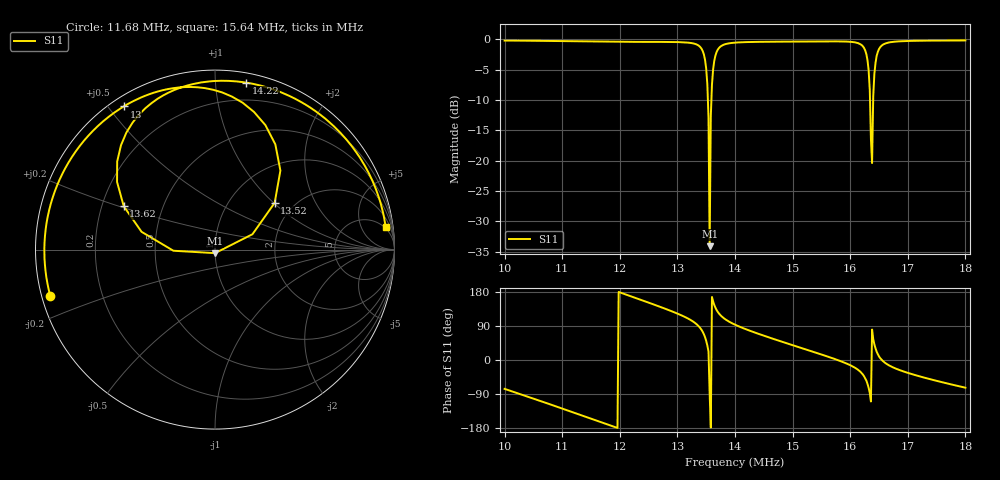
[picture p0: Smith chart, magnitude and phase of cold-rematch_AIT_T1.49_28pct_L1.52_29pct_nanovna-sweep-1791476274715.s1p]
! NanoVNA Web complex sweep
! Processing: original sample grid, no browser smoothing
# Hz S RI R 50
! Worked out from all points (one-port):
!   401 points, 10 MHz to 18 MHz, reference 50 ohm
!   lowest |S11| = -34.1 dB at 13.56 MHz (marker M1), VSWR 1.04, Z = 50 - j1.98 ohm
!   |S11| at or under -10 dB: 13.52924 MHz to 13.59038 MHz (61.14 kHz wide, 0.451 % of centre); 16.34404 MHz to 16.39889 MHz (54.85 kHz wide, 0.335 % of centre)
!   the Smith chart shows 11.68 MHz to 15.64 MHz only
!   S11 on the Smith chart (normalised r, x): 11.68 MHz: 0.02, -0.14; 13 MHz: 0.04, +0.55; 13.52 MHz: 1.60, +1.02; 13.62 MHz: 0.29, +0.21; 14.22 MHz: 0.07, +1.20; 15.64 MHz: 4, +14
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1e7  0.2325 -0.9457
1.05e7  -0.199 -0.9493
1.1e7  -0.5936 -0.7583
1.168e7  -0.9177 -0.2578
1.2e7  -0.9503 0.0249
1.25e7  -0.8338 0.4542
1.3e7  -0.5082 0.7977
1.338e7  0.0398 0.8757
1.348e7  0.3363 0.586
1.35e7  0.3643 0.4402
1.352e7  0.3325 0.2608
1.356e7  0.000345 -0.0198
1.36e7  -0.4094 0.0992
1.362e7  -0.5085 0.2418
1.376e7  -0.3882 0.7874
1.4e7  -0.0526 0.9346
1.422e7  0.1742 0.9303
1.5e7  0.741 0.6025
1.564e7  0.9507 0.1246
1.6e7  0.9234 -0.2228
1.618e7  0.7729 -0.4736
1.628e7  0.4414 -0.6115
1.636e7  -0.0498 -0.1411
1.64e7  0.193 0.279
1.644e7  0.5501 0.3248
1.654e7  0.8779 0.0262
1.7e7  0.8017 -0.5396
1.8e7  0.2835 -0.9335
